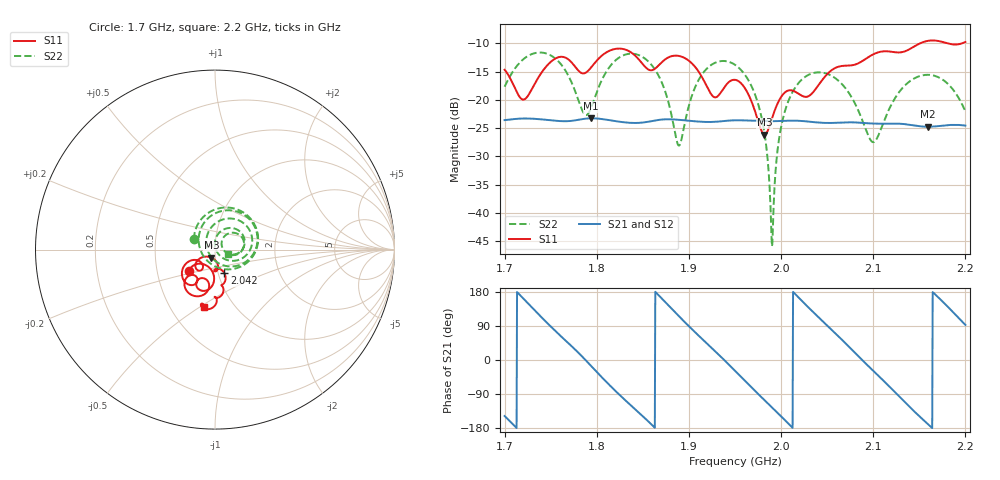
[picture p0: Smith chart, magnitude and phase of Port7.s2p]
# Hz S RI R 50
! CMT, CMT808U, 21440046, 21.4.3/4
! Date: 11/12/2025 3:09:53 PM
! Data: Format (Calibration Info)
! Freq	S11:Re/Im(F2)	S41:Re/Im(F2)	S14:Re/Im(F2)	S44:Re/Im(F2)
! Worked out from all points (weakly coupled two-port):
!   1001 points, 1.7 GHz to 2.2 GHz, reference 50 ohm
!   highest |S21| = -23.26 dB at 1.794 GHz (marker M1); lowest = -24.8 dB at 2.159 GHz (marker M2)
!   lowest |S11| = -26.2 dB at 1.982 GHz (marker M3), VSWR 1.10, Z = 47.9 - j4.3 ohm
!   |S11| at or under -10 dB: start of sweep to 2.151 GHz; 2.181 GHz to 2.196 GHz (15.2 MHz wide, 0.694 % of centre)
!   |S22| runs from -45.9 to -11.6 dB; largest |S21 - S12| = 6.7e-05
!   S11 on the Smith chart (normalised r, x): 1.7 GHz: 0.73, -0.18; 2.042 GHz: 1.07, -0.29; 2.2 GHz: 0.73, -0.52
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1.7e9  -0.1424 -0.1177  -0.056 -0.0352  -0.056 -0.0353  -0.1174 0.0577
1.7205e9  -0.0472 -0.0888  -0.0649 0.0216  -0.0649 0.0216  0.017 0.2289
1.745e9  -0.0127 -0.1964  -0.0122 0.0655  -0.0122 0.0655  0.2314 0.1135
1.7835e9  -0.0678 -0.1588  0.0662 0.0126  0.0662 0.0126  -0.0207 -0.0808
1.794e9  -0.0335 -0.1914  0.066 -0.0191  0.066 -0.0191  -0.0853 0.0107
1.828e9  -0.1479 -0.2409  -0.0105 -0.0626  -0.0105 -0.0626  0.1296 0.2095
1.867e9  -0.0983 -0.1758  -0.0657 0.0101  -0.0657 0.01  0.1409 -0.0844
1.8895e9  -0.1736 -0.1721  -0.0277 0.0606  -0.0277 0.0606  -0.0367 -0.0144
1.9145e9  -0.1433 -0.0646  0.0366 0.0524  0.0366 0.0525  0.0362 0.1652
1.9285e9  -0.0768 -0.0719  0.0588 0.025  0.0588 0.025  0.1443 0.157
1.95e9  -0.1025 -0.1102  0.0579 -0.0315  0.0579 -0.0315  0.2035 0.0195
1.9695e9  -0.0773 -0.0453  0.0156 -0.0634  0.0157 -0.0634  0.1068 -0.0625
1.982e9  -0.0199 -0.0448  -0.0178 -0.0623  -0.0178 -0.0623  0.0326 -0.0388
1.9905e9  0.0094 -0.0694  -0.038 -0.0523  -0.038 -0.0523  0.00403 0.00338
1.9965e9  0.0175 -0.0924  -0.0498 -0.0415  -0.0498 -0.0415  -0.000618 0.0378
2.0035e9  0.0124 -0.1144  -0.06 -0.0255  -0.06 -0.0255  0.0099 0.0753
2.0335e9  0.0303 -0.1098  -0.0406 0.0492  -0.0406 0.0491  0.1383 0.1013
2.0425e9  0.0525 -0.1319  -0.0199 0.0596  -0.0199 0.0596  0.1608 0.0694
2.099e9  0.0417 -0.247  0.0554 -0.0273  0.0554 -0.0272  0.0411 0.0106
2.117e9  0.00295 -0.2683  0.0224 -0.0574  0.0224 -0.0574  0.047 0.0672
2.1595e9  -0.0334 -0.3315  -0.0569 -0.0105  -0.0569 -0.0105  0.1596 0.0478
2.2e9  -0.061 -0.3199  -0.0026 0.0591  -0.00262 0.0591  0.0751 -0.0244
